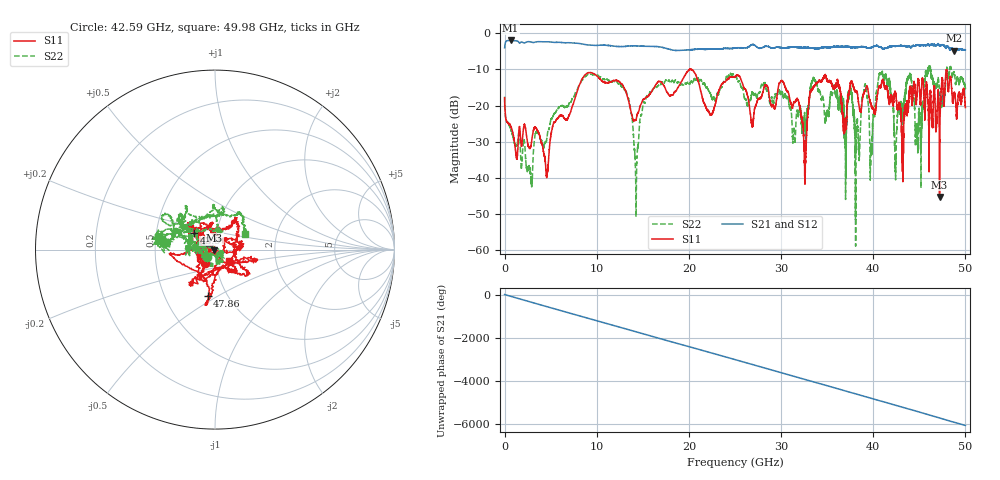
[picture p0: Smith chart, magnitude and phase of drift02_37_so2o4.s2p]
!Created with skrf (http://scikit-rf.org).
# Hz S RI R 50.0
!freq ReS11 ImS11 ReS21 ImS21 ReS12 ImS12 ReS22 ImS22
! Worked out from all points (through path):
!   10001 points, 300 kHz to 50 GHz, reference 50 ohm
!   highest |S21| = -1.99 dB at 645.3 MHz (marker M1); lowest = -4.8 dB at 48.77 GHz (marker M2)
!   group delay of S21, straight-line fit = 337 ps
!   lowest |S11| = -45.3 dB at 47.2 GHz (marker M3), VSWR 1.01, Z = 49.7 - j0.44 ohm
!   |S11| at or under -10 dB: start of sweep to 20.06 GHz; 20.20768 GHz to 20.22001 GHz (12.33 MHz wide, 0.061 % of centre); 20.24 GHz to end of sweep (the widest 3 of 4)
!   |S22| runs from -58.9 to -9.0 dB; largest |S21 - S12| = 0.035
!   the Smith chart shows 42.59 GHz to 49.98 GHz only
!   S11 on the Smith chart (normalised r, x): 42.59 GHz: 0.88, -0.13; 43.9 GHz: 0.78, +0.15; 47.86 GHz: 0.81, -0.45; 49.98 GHz: 1.16, -0.15
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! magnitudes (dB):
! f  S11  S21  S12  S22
! 300 kHz  -17.9  -4.0  -4.0  -17.6
! 645.3 MHz  -25.7  -2.0  -2.0  -26.4
! 4.565 GHz  -39.8  -2.4  -2.4  -29.4
! 8.335 GHz  -13.0  -2.9  -2.9  -13.2
! 13.01 GHz  -15.3  -3.7  -3.6  -15.7
! 14.28 GHz  -23.8  -3.5  -3.5  -48.5
! 16.67 GHz  -13.4  -3.7  -3.7  -14.5
! 25 GHz  -12.1  -4.1  -4.1  -12.1
! 32.58 GHz  -38.0  -4.0  -4.0  -24.4
! 33.34 GHz  -15.7  -4.0  -4.1  -13.7
! 37.5 GHz  -14.3  -3.9  -3.8  -16.4
! 38.29 GHz  -16.9  -3.9  -3.9  -24.5
! 41.67 GHz  -18.4  -3.8  -3.9  -12.3
! 42.59 GHz  -20.4  -3.5  -3.5  -24.7
! 43.9 GHz  -16.5  -3.6  -3.6  -12.2
! 44.99 GHz  -14.1  -3.4  -3.3  -21.7
! 45.9 GHz  -17.6  -3.3  -3.2  -11.2
! 47.2 GHz  -45.3  -3.5  -3.4  -16.5
! 47.86 GHz  -11.7  -4.1  -4.1  -13.2
! 48.77 GHz  -17.0  -4.8  -4.8  -10.9
! 49.98 GHz  -19.9  -4.6  -4.5  -14.6
! 50 GHz  -20.5  -4.6  -4.6  -15.0
